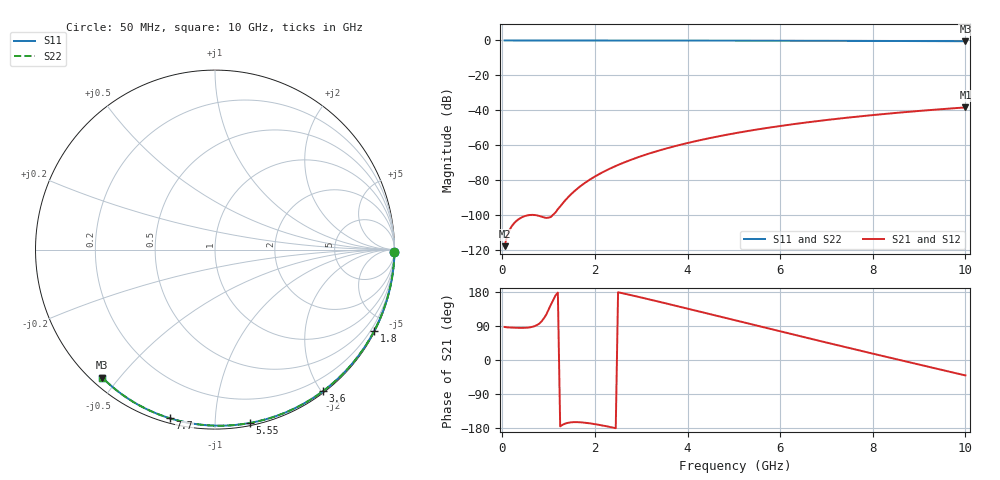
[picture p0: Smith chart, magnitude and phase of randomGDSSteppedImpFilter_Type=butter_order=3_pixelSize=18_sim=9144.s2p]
! freq	dB(S11)	phase(S11)	dB(S12)	phase(S12)
!  dB(S21)	phase(S21)	dB(S22)	phase(S22)
!S-par simulation data
#  GHz  S  DB  R 50
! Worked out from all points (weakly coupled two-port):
!   200 points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, 50 MHz to 10 GHz, reference 50 ohm
!   highest |S21| = -38.43 dB at 10 GHz (marker M1); lowest = -118.1 dB at 50 MHz (marker M2)
!   lowest |S11| = -0.4 dB at 10 GHz (marker M3), VSWR 39.07, Z = 1.54 - j22.6 ohm
!   |S11| at or under -10 dB: nowhere
!   |S22| runs from -0.4 to 0.0 dB; largest |S21 - S12| = 0
!   S11 on the Smith chart (normalised r, x): 50 MHz: open; 1.8 GHz: 0.04, -4.18; 3.6 GHz: 0.02, -2.02; 5.55 GHz: 0.02, -1.22; 7.7 GHz: 0.02, -0.77; 10 GHz: 0.03, -0.45
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0.05  -0.00 -0.8  -118.05 87.2  -118.05 87.2  -0.00 -0.8
0.9  -0.02 -13.6  -101.55 110.4  -101.55 110.4  -0.02 -13.6
1.75  -0.03 -26.2  -82.39 -165.1  -82.39 -165.1  -0.03 -26.2
1.8  -0.03 -26.9  -81.45 -165.7  -81.45 -165.7  -0.03 -26.9
1.85  -0.04 -27.7  -80.55 -166.5  -80.55 -166.5  -0.04 -27.7
1.9  -0.04 -28.4  -79.70 -167.3  -79.70 -167.3  -0.04 -28.4
2.05  -0.04 -30.6  -77.31 -170.3  -77.31 -170.3  -0.04 -30.6
2.25  -0.04 -33.5  -74.51 -174.9  -74.51 -174.9  -0.04 -33.5
2.45  -0.05 -36.4  -72.02 -179.9  -72.02 -179.9  -0.05 -36.4
2.65  -0.05 -39.2  -69.80 174.7  -69.80 174.7  -0.05 -39.3
3  -0.06 -44.2  -66.39 164.9  -66.39 164.9  -0.06 -44.2
3.4  -0.07 -49.9  -63.05 153.3  -63.05 153.3  -0.07 -49.9
3.6  -0.07 -52.6  -61.56 147.5  -61.56 147.5  -0.07 -52.6
4.3  -0.09 -62.2  -57.05 126.6  -57.05 126.6  -0.09 -62.2
5.05  -0.11 -72.2  -53.12 104.1  -53.12 104.1  -0.11 -72.2
5.55  -0.13 -78.6  -50.89 89.1  -50.89 89.1  -0.13 -78.6
6.1  -0.15 -85.6  -48.71 72.7  -48.71 72.7  -0.15 -85.6
6.7  -0.18 -93.0  -46.61 54.9  -46.61 54.9  -0.18 -93.0
7.7  -0.24 -105.0  -43.62 25.5  -43.62 25.5  -0.24 -105.0
8.35  -0.29 -112.6  -41.94 6.7  -41.94 6.7  -0.29 -112.6
9.15  -0.36 -121.8  -40.12 -16.3  -40.12 -16.3  -0.36 -121.8
10  -0.44 -131.4  -38.43 -40.7  -38.43 -40.7  -0.44 -131.4
